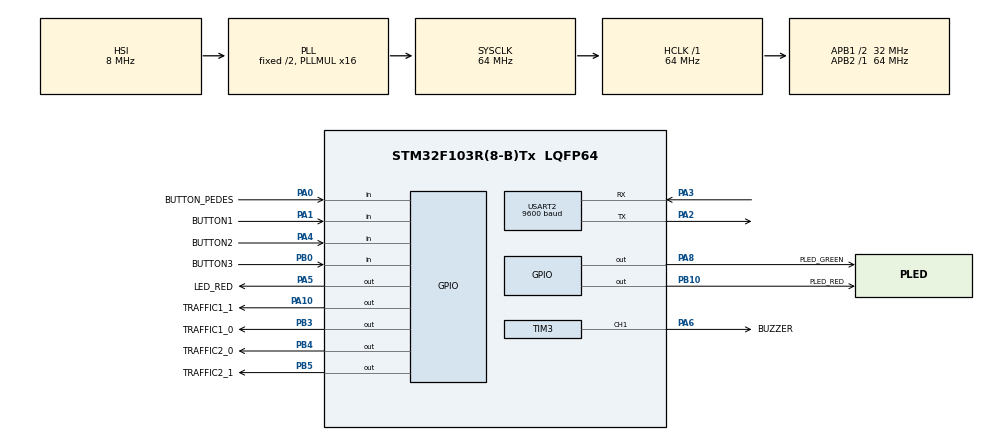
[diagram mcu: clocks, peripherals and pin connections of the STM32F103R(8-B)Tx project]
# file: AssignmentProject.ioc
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Mcu.Family=STM32F1
Mcu.Name=STM32F103R(8-B)Tx
Mcu.Package=LQFP64
NVIC.PriorityGroup=NVIC_PRIORITYGROUP_4
NVIC.TIM2_IRQn=true\:0\:0\:false\:false\:true\:true\:true
NVIC.USART2_IRQn=true\:0\:0\:false\:false\:true\:true\:true
PA0-WKUP.GPIO_Label=BUTTON_PEDES
PA0-WKUP.GPIO_PuPd=GPIO_PULLUP
PA0-WKUP.Signal=GPIO_Input
PA1.GPIO_Label=BUTTON1
PA1.GPIO_PuPd=GPIO_PULLUP
PA1.Signal=GPIO_Input
PA10.GPIO_Label=TRAFFIC1_1
PA10.Signal=GPIO_Output
PA13.Mode=Serial_Wire
PA13.Signal=SYS_JTMS-SWDIO
PA14.Mode=Serial_Wire
PA14.Signal=SYS_JTCK-SWCLK
PA2.Mode=Asynchronous
PA2.Signal=USART2_TX
PA3.Mode=Asynchronous
PA3.Signal=USART2_RX
PA4.GPIO_Label=BUTTON2
PA4.GPIO_PuPd=GPIO_PULLUP
PA4.Signal=GPIO_Input
PA5.GPIO_Label=LED_RED
PA5.Signal=GPIO_Output
PA6.GPIO_Label=BUZZER
PA6.Signal=S_TIM3_CH1
PA8.GPIO_Label=PLED_GREEN
PA8.Signal=GPIO_Output
PB0.GPIO_Label=BUTTON3
PB0.Signal=GPIO_Input
PB10.GPIO_Label=PLED_RED
PB10.Signal=GPIO_Output
PB3.GPIO_Label=TRAFFIC1_0
PB3.Signal=GPIO_Output
PB4.GPIO_Label=TRAFFIC2_0
PB4.Signal=GPIO_Output
PB5.GPIO_Label=TRAFFIC2_1
PB5.Signal=GPIO_Output
ProjectManager.HeapSize=0x200
ProjectManager.StackSize=0x400
ProjectManager.TargetToolchain=STM32CubeIDE
RCC.AHBFreq_Value=64000000
RCC.APB1CLKDivider=RCC_HCLK_DIV2
RCC.APB1Freq_Value=32000000
RCC.APB1TimFreq_Value=64000000
RCC.APB2Freq_Value=64000000
RCC.APB2TimFreq_Value=64000000
RCC.HCLKFreq_Value=64000000
RCC.PLLMUL=RCC_PLL_MUL16
RCC.SYSCLKFreq_VALUE=64000000
RCC.SYSCLKSource=RCC_SYSCLKSOURCE_PLLCLK
RCC.USBFreq_Value=64000000
SH.S_TIM3_CH1.0=TIM3_CH1,PWM Generation1 CH1
TIM2.Period=63
TIM2.Prescaler=9999
TIM3.Channel-PWM\ Generation1\ CH1=TIM_CHANNEL_1
TIM3.Period=999
TIM3.Prescaler=63
USART2.BaudRate=9600
USART2.VirtualMode=VM_ASYNC
VP_TIM2_VS_ClockSourceINT.Mode=Internal
VP_TIM3_VS_ClockSourceINT.Mode=Internal
board=custom

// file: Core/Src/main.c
/* USER CODE BEGIN Header */
/**
  ******************************************************************************
  * @file           : main.c
  * @brief          : Main program body
  ******************************************************************************
  * @attention
  *
  * <h2><center>&copy; Copyright (c) 2022 STMicroelectronics.
  * All rights reserved.</center></h2>
  *
  * This software component is licensed by ST under BSD 3-Clause license,
  * the "License"; You may not use this file except in compliance with the
  * License. You may obtain a copy of the License at:
  *                        opensource.org/licenses/BSD-3-Clause
  *
  ******************************************************************************
  */
/* USER CODE END Header */
#include "main.h"

/* USER CODE BEGIN Includes */
#include "global.h"
/* USER CODE END Includes */

TIM_HandleTypeDef htim2;
//TIM_HandleTypeDef htim3;

//UART_HandleTypeDef huart2;

void SystemClock_Config(void);
static void MX_GPIO_Init(void);
static void MX_TIM2_Init(void);
static void MX_USART2_UART_Init(void);
static void MX_TIM3_Init(void);

int main(void)
{

  /* MCU Configuration--------------------------------------------------------*/

  /* Reset of all peripherals, Initializes the Flash interface and the Systick. */
  HAL_Init();

  /* Configure the system clock */
  SystemClock_Config();

  /* Initialize all configured peripherals */
  MX_GPIO_Init();
  MX_TIM2_Init();
  MX_USART2_UART_Init();
  MX_TIM3_Init();
  /* USER CODE BEGIN 2 */
  HAL_TIM_Base_Start_IT(&htim2);
  HAL_TIM_PWM_Start(&htim3, TIM_CHANNEL_1);

  /* USER CODE END 2 */

  /* Infinite loop */
  /* USER CODE BEGIN WHILE */
  timerInit();
  while (1)
  {
	  ledBlink();
	  modeRun();
	  pedes_light_fsm();
	  fsm_automatic_run1();
	  fsm_automatic_run2();
	  fsm_manual_run1();
	  fsm_manual_run2();
	  fsm_tuning_run1();
	  fsm_tuning_run2();
	  buzzerRun();
	  uartRun();
    /* USER CODE END WHILE */

  }
}

void SystemClock_Config(void)
{
  RCC_OscInitTypeDef RCC_OscInitStruct = {0};
  RCC_ClkInitTypeDef RCC_ClkInitStruct = {0};

  /** Initializes the RCC Oscillators according to the specified parameters
  * in the RCC_OscInitTypeDef structure.
  */
  RCC_OscInitStruct.OscillatorType = RCC_OSCILLATORTYPE_HSI;
  RCC_OscInitStruct.HSIState = RCC_HSI_ON;
  RCC_OscInitStruct.HSICalibrationValue = RCC_HSICALIBRATION_DEFAULT;
  RCC_OscInitStruct.PLL.PLLState = RCC_PLL_ON;
  RCC_OscInitStruct.PLL.PLLSource = RCC_PLLSOURCE_HSI_DIV2;
  RCC_OscInitStruct.PLL.PLLMUL = RCC_PLL_MUL16;
  if (HAL_RCC_OscConfig(&RCC_OscInitStruct) != HAL_OK)
  {
    Error_Handler();
  }
  /** Initializes the CPU, AHB and APB buses clocks
  */
  RCC_ClkInitStruct.ClockType = RCC_CLOCKTYPE_HCLK|RCC_CLOCKTYPE_SYSCLK
                              |RCC_CLOCKTYPE_PCLK1|RCC_CLOCKTYPE_PCLK2;
  RCC_ClkInitStruct.SYSCLKSource = RCC_SYSCLKSOURCE_PLLCLK;
  RCC_ClkInitStruct.AHBCLKDivider = RCC_SYSCLK_DIV1;
  RCC_ClkInitStruct.APB1CLKDivider = RCC_HCLK_DIV2;
  RCC_ClkInitStruct.APB2CLKDivider = RCC_HCLK_DIV1;

  if (HAL_RCC_ClockConfig(&RCC_ClkInitStruct, FLASH_LATENCY_2) != HAL_OK)
  {
    Error_Handler();
  }
}

static void MX_TIM2_Init(void)
{

  TIM_ClockConfigTypeDef sClockSourceConfig = {0};
  TIM_MasterConfigTypeDef sMasterConfig = {0};

  htim2.Instance = TIM2;
  htim2.Init.Prescaler = 9999;
  htim2.Init.CounterMode = TIM_COUNTERMODE_UP;
  htim2.Init.Period = 63;
  htim2.Init.ClockDivision = TIM_CLOCKDIVISION_DIV1;
  htim2.Init.AutoReloadPreload = TIM_AUTORELOAD_PRELOAD_DISABLE;
  if (HAL_TIM_Base_Init(&htim2) != HAL_OK)
  {
    Error_Handler();
  }
  sClockSourceConfig.ClockSource = TIM_CLOCKSOURCE_INTERNAL;
  if (HAL_TIM_ConfigClockSource(&htim2, &sClockSourceConfig) != HAL_OK)
  {
    Error_Handler();
  }
  sMasterConfig.MasterOutputTrigger = TIM_TRGO_RESET;
  sMasterConfig.MasterSlaveMode = TIM_MASTERSLAVEMODE_DISABLE;
  if (HAL_TIMEx_MasterConfigSynchronization(&htim2, &sMasterConfig) != HAL_OK)
  {
    Error_Handler();
  }

}

static void MX_TIM3_Init(void)
{

  TIM_ClockConfigTypeDef sClockSourceConfig = {0};
  TIM_MasterConfigTypeDef sMasterConfig = {0};
  TIM_OC_InitTypeDef sConfigOC = {0};

  htim3.Instance = TIM3;
  htim3.Init.Prescaler = 63;
  htim3.Init.CounterMode = TIM_COUNTERMODE_UP;
  htim3.Init.Period = 999;
  htim3.Init.ClockDivision = TIM_CLOCKDIVISION_DIV1;
  htim3.Init.AutoReloadPreload = TIM_AUTORELOAD_PRELOAD_DISABLE;
  if (HAL_TIM_Base_Init(&htim3) != HAL_OK)
  {
    Error_Handler();
  }
  sClockSourceConfig.ClockSource = TIM_CLOCKSOURCE_INTERNAL;
  if (HAL_TIM_ConfigClockSource(&htim3, &sClockSourceConfig) != HAL_OK)
  {
    Error_Handler();
  }
  if (HAL_TIM_PWM_Init(&htim3) != HAL_OK)
  {
    Error_Handler();
  }
  sMasterConfig.MasterOutputTrigger = TIM_TRGO_RESET;
  sMasterConfig.MasterSlaveMode = TIM_MASTERSLAVEMODE_DISABLE;
  if (HAL_TIMEx_MasterConfigSynchronization(&htim3, &sMasterConfig) != HAL_OK)
  {
    Error_Handler();
  }
  sConfigOC.OCMode = TIM_OCMODE_PWM1;
  sConfigOC.Pulse = 0;
  sConfigOC.OCPolarity = TIM_OCPOLARITY_HIGH;
  sConfigOC.OCFastMode = TIM_OCFAST_DISABLE;
  if (HAL_TIM_PWM_ConfigChannel(&htim3, &sConfigOC, TIM_CHANNEL_1) != HAL_OK)
  {
    Error_Handler();
  }
  HAL_TIM_MspPostInit(&htim3);

}

static void MX_USART2_UART_Init(void)
{

  huart2.Instance = USART2;
  huart2.Init.BaudRate = 9600;
  huart2.Init.WordLength = UART_WORDLENGTH_8B;
  huart2.Init.StopBits = UART_STOPBITS_1;
  huart2.Init.Parity = UART_PARITY_NONE;
  huart2.Init.Mode = UART_MODE_TX_RX;
  huart2.Init.HwFlowCtl = UART_HWCONTROL_NONE;
  huart2.Init.OverSampling = UART_OVERSAMPLING_16;
  if (HAL_UART_Init(&huart2) != HAL_OK)
  {
    Error_Handler();
  }

}

static void MX_GPIO_Init(void)
{
  GPIO_InitTypeDef GPIO_InitStruct = {0};

  /* GPIO Ports Clock Enable */
  __HAL_RCC_GPIOA_CLK_ENABLE();
  __HAL_RCC_GPIOB_CLK_ENABLE();

  /*Configure GPIO pin Output Level */
  HAL_GPIO_WritePin(GPIOA, LED_RED_Pin|PLED_GREEN_Pin|TRAFFIC1_1_Pin, GPIO_PIN_RESET);

  /*Configure GPIO pin Output Level */
  HAL_GPIO_WritePin(GPIOB, PLED_RED_Pin|TRAFFIC1_0_Pin|TRAFFIC2_0_Pin|TRAFFIC2_1_Pin, GPIO_PIN_RESET);

  /*Configure GPIO pins : BUTTON_PEDES_Pin BUTTON1_Pin BUTTON2_Pin */
  GPIO_InitStruct.Pin = BUTTON_PEDES_Pin|BUTTON1_Pin|BUTTON2_Pin;
  GPIO_InitStruct.Mode = GPIO_MODE_INPUT;
  GPIO_InitStruct.Pull = GPIO_PULLUP;
  HAL_GPIO_Init(GPIOA, &GPIO_InitStruct);

  /*Configure GPIO pins : LED_RED_Pin PLED_GREEN_Pin TRAFFIC1_1_Pin */
  GPIO_InitStruct.Pin = LED_RED_Pin|PLED_GREEN_Pin|TRAFFIC1_1_Pin;
  GPIO_InitStruct.Mode = GPIO_MODE_OUTPUT_PP;
  GPIO_InitStruct.Pull = GPIO_NOPULL;
  GPIO_InitStruct.Speed = GPIO_SPEED_FREQ_LOW;
  HAL_GPIO_Init(GPIOA, &GPIO_InitStruct);

  /*Configure GPIO pin : BUTTON3_Pin */
  GPIO_InitStruct.Pin = BUTTON3_Pin;
  GPIO_InitStruct.Mode = GPIO_MODE_INPUT;
  GPIO_InitStruct.Pull = GPIO_NOPULL;
  HAL_GPIO_Init(BUTTON3_GPIO_Port, &GPIO_InitStruct);

  /*Configure GPIO pins : PLED_RED_Pin TRAFFIC1_0_Pin TRAFFIC2_0_Pin TRAFFIC2_1_Pin */
  GPIO_InitStruct.Pin = PLED_RED_Pin|TRAFFIC1_0_Pin|TRAFFIC2_0_Pin|TRAFFIC2_1_Pin;
  GPIO_InitStruct.Mode = GPIO_MODE_OUTPUT_PP;
  GPIO_InitStruct.Pull = GPIO_NOPULL;
  GPIO_InitStruct.Speed = GPIO_SPEED_FREQ_LOW;
  HAL_GPIO_Init(GPIOB, &GPIO_InitStruct);

}

/* USER CODE BEGIN 4 */
void HAL_TIM_PeriodElapsedCallback(TIM_HandleTypeDef *htim){
	timerRun();
	getKeyInput();
}

/* USER CODE END 4 */

void Error_Handler(void)
{
  __disable_irq();
  while (1)
  {
  }
}

/************************ (C) COPYRIGHT STMicroelectronics *****END OF FILE****/
